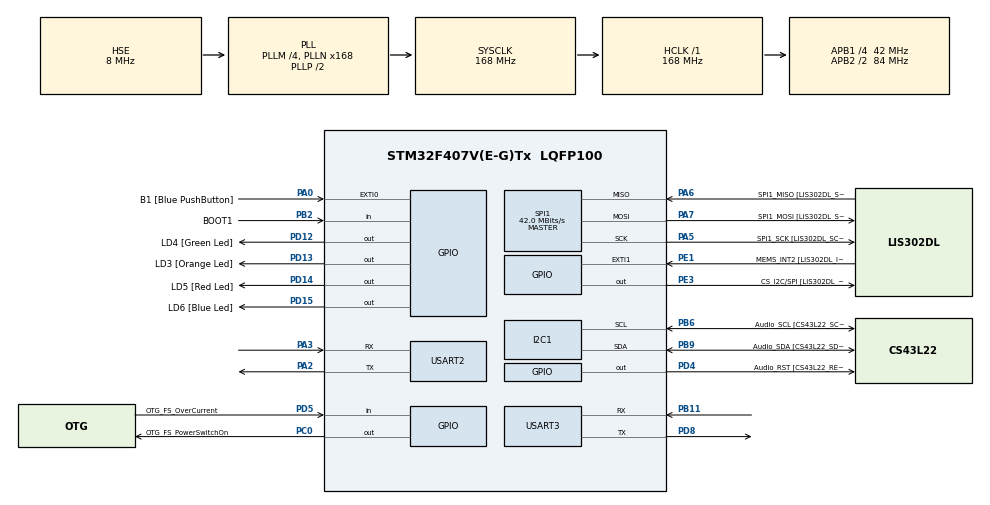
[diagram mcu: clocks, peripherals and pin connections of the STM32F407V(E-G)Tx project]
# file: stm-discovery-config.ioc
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Mcu.Family=STM32F4
Mcu.Name=STM32F407V(E-G)Tx
Mcu.Package=LQFP100
NVIC.PriorityGroup=NVIC_PRIORITYGROUP_0
NVIC.USART2_IRQn=true\:0\:0\:false\:false\:true\:true\:true\:true
NVIC.USART3_IRQn=true\:0\:0\:false\:false\:true\:true\:true\:true
PA0-WKUP.GPIO_Label=B1 [Blue PushButton]
PA0-WKUP.GPIO_ModeDefaultEXTI=GPIO_MODE_EVT_RISING
PA0-WKUP.GPIO_PuPd=GPIO_NOPULL
PA0-WKUP.Signal=GPXTI0
PA10.GPIO_Label=OTG_FS_ID
PA10.GPIO_Mode=GPIO_MODE_AF_PP
PA10.GPIO_PuPd=GPIO_NOPULL
PA10.GPIO_Speed=GPIO_SPEED_FREQ_LOW
PA10.Signal=USB_OTG_FS_ID
PA11.GPIO_Label=OTG_FS_DM
PA11.GPIO_Mode=GPIO_MODE_AF_PP
PA11.GPIO_PuPd=GPIO_NOPULL
PA11.GPIO_Speed=GPIO_SPEED_FREQ_LOW
PA11.Signal=USB_OTG_FS_DM
PA12.GPIO_Label=OTG_FS_DP
PA12.GPIO_Mode=GPIO_MODE_AF_PP
PA12.GPIO_PuPd=GPIO_NOPULL
PA12.GPIO_Speed=GPIO_SPEED_FREQ_LOW
PA12.Signal=USB_OTG_FS_DP
PA13.GPIO_Label=SWDIO
PA13.Mode=Serial_Wire
PA13.Signal=SYS_JTMS-SWDIO
PA14.GPIO_Label=SWCLK
PA14.Mode=Serial_Wire
PA14.Signal=SYS_JTCK-SWCLK
PA2.Mode=Asynchronous
PA2.Signal=USART2_TX
PA3.Mode=Asynchronous
PA3.Signal=USART2_RX
PA4.GPIO_Label=I2S3_WS [CS43L22_LRCK]
PA4.GPIO_Mode=GPIO_MODE_AF_PP
PA4.GPIO_PuPd=GPIO_NOPULL
PA4.GPIO_Speed=GPIO_SPEED_FREQ_LOW
PA4.Signal=I2S3_WS
PA5.GPIO_Label=SPI1_SCK [LIS302DL_SCL/SPC]
PA5.GPIO_Mode=GPIO_MODE_AF_PP
PA5.GPIO_PuPd=GPIO_NOPULL
PA5.GPIO_Speed=GPIO_SPEED_FREQ_LOW
PA5.Mode=Full_Duplex_Master
PA5.Signal=SPI1_SCK
PA6.GPIO_Label=SPI1_MISO [LIS302DL_SDO]
PA6.GPIO_Mode=GPIO_MODE_AF_PP
PA6.GPIO_PuPd=GPIO_NOPULL
PA6.GPIO_Speed=GPIO_SPEED_FREQ_LOW
PA6.Mode=Full_Duplex_Master
PA6.Signal=SPI1_MISO
PA7.GPIO_Label=SPI1_MOSI [LIS302DL_SDA/SDI/SDO]
PA7.GPIO_Mode=GPIO_MODE_AF_PP
PA7.GPIO_PuPd=GPIO_NOPULL
PA7.GPIO_Speed=GPIO_SPEED_FREQ_LOW
PA7.Mode=Full_Duplex_Master
PA7.Signal=SPI1_MOSI
PA9.GPIO_Label=VBUS_FS
PA9.GPIO_Mode=GPIO_MODE_INPUT
PA9.GPIO_PuPd=GPIO_NOPULL
PA9.Signal=USB_OTG_FS_VBUS
PB10.GPIO_Label=CLK_IN [MP45DT02_CLK]
PB10.GPIO_Mode=GPIO_MODE_AF_PP
PB10.GPIO_PuPd=GPIO_NOPULL
PB10.GPIO_Speed=GPIO_SPEED_FREQ_LOW
PB10.Signal=I2S2_CK
PB11.Mode=Asynchronous
PB11.Signal=USART3_RX
PB2.GPIO_Label=BOOT1
PB2.GPIO_Mode=GPIO_MODE_INPUT
PB2.GPIO_PuPd=GPIO_NOPULL
PB2.Signal=GPIO_Input
PB3.GPIO_Label=SWO
PB3.Signal=SYS_JTDO-SWO
PB6.GPIO_Label=Audio_SCL [CS43L22_SCL]
PB6.GPIO_Mode=GPIO_MODE_AF_OD
PB6.GPIO_Pu=GPIO_PULLUP
PB6.GPIO_PuPd=GPIO_NOPULL
PB6.GPIO_Speed=GPIO_SPEED_FREQ_LOW
PB6.Mode=I2C
PB6.Signal=I2C1_SCL
PB9.GPIO_Label=Audio_SDA [CS43L22_SDA]
PB9.GPIO_Mode=GPIO_MODE_AF_OD
PB9.GPIO_Pu=GPIO_PULLUP
PB9.GPIO_PuPd=GPIO_NOPULL
PB9.GPIO_Speed=GPIO_SPEED_FREQ_LOW
PB9.Mode=I2C
PB9.Signal=I2C1_SDA
PC0.GPIO_Label=OTG_FS_PowerSwitchOn
PC0.GPIO_PuPd=GPIO_NOPULL
PC0.GPIO_Speed=GPIO_SPEED_FREQ_LOW
PC0.PinState=GPIO_PIN_SET
PC0.Signal=GPIO_Output
PC10.GPIO_Label=I2S3_SCK [CS43L22_SCLK]
PC10.GPIO_Mode=GPIO_MODE_AF_PP
PC10.GPIO_PuPd=GPIO_NOPULL
PC10.GPIO_Speed=GPIO_SPEED_FREQ_LOW
PC10.Signal=I2S3_CK
PC12.GPIO_Label=I2S3_SD [CS43L22_SDIN]
PC12.GPIO_Mode=GPIO_MODE_AF_PP
PC12.GPIO_PuPd=GPIO_NOPULL
PC12.GPIO_Speed=GPIO_SPEED_FREQ_LOW
PC12.Signal=I2S3_SD
PC14-OSC32_IN.GPIO_Label=PC14-OSC32_IN
PC14-OSC32_IN.Mode=LSE-External-Oscillator
PC14-OSC32_IN.Signal=RCC_OSC32_IN
PC15-OSC32_OUT.GPIO_Label=PC15-OSC32_OUT
PC15-OSC32_OUT.Mode=LSE-External-Oscillator
PC15-OSC32_OUT.Signal=RCC_OSC32_OUT
PC3.GPIO_Label=PDM_OUT [MP45DT02_DOUT]
PC3.GPIO_Mode=GPIO_MODE_AF_PP
PC3.GPIO_PuPd=GPIO_NOPULL
PC3.GPIO_Speed=GPIO_SPEED_FREQ_LOW
PC3.Signal=I2S2_SD
PC7.GPIO_Label=I2S3_MCK [CS43L22_MCLK]
PC7.GPIO_Mode=GPIO_MODE_AF_PP
PC7.GPIO_PuPd=GPIO_NOPULL
PC7.GPIO_Speed=GPIO_SPEED_FREQ_LOW
PC7.Signal=I2S3_MCK
PD12.GPIO_Label=LD4 [Green Led]
PD12.GPIO_PuPd=GPIO_NOPULL
PD12.GPIO_Speed=GPIO_SPEED_FREQ_LOW
PD12.Signal=GPIO_Output
PD13.GPIO_Label=LD3 [Orange Led]
PD13.GPIO_PuPd=GPIO_NOPULL
PD13.GPIO_Speed=GPIO_SPEED_FREQ_LOW
PD13.Signal=GPIO_Output
PD14.GPIO_Label=LD5 [Red Led]
PD14.GPIO_PuPd=GPIO_NOPULL
PD14.GPIO_Speed=GPIO_SPEED_FREQ_LOW
PD14.Signal=GPIO_Output
PD15.GPIO_Label=LD6 [Blue Led]
PD15.GPIO_PuPd=GPIO_NOPULL
PD15.GPIO_Speed=GPIO_SPEED_FREQ_LOW
PD15.Signal=GPIO_Output
PD4.GPIO_Label=Audio_RST [CS43L22_RESET]
PD4.GPIO_PuPd=GPIO_NOPULL
PD4.GPIO_Speed=GPIO_SPEED_FREQ_LOW
PD4.Signal=GPIO_Output
PD5.GPIO_Label=OTG_FS_OverCurrent
PD5.GPIO_Mode=GPIO_MODE_INPUT
PD5.GPIO_PuPd=GPIO_NOPULL
PD5.Signal=GPIO_Input
PD8.Mode=Asynchronous
PD8.Signal=USART3_TX
PE1.GPIO_Label=MEMS_INT2 [LIS302DL_INT2]
PE1.GPIO_ModeDefaultEXTI=GPIO_MODE_EVT_RISING
PE1.GPIO_PuPd=GPIO_NOPULL
PE1.Signal=GPXTI1
PE3.GPIO_Label=CS_I2C/SPI [LIS302DL_CS_I2C/SPI]
PE3.GPIO_PuPd=GPIO_NOPULL
PE3.GPIO_Speed=GPIO_SPEED_FREQ_LOW
PE3.Signal=GPIO_Output
PH0-OSC_IN.GPIO_Label=PH0-OSC_IN
PH0-OSC_IN.Mode=HSE-External-Oscillator
PH0-OSC_IN.Signal=RCC_OSC_IN
PH1-OSC_OUT.GPIO_Label=PH1-OSC_OUT
PH1-OSC_OUT.Mode=HSE-External-Oscillator
PH1-OSC_OUT.Signal=RCC_OSC_OUT
ProjectManager.HeapSize=0x200
ProjectManager.StackSize=0x1000
ProjectManager.TargetToolchain=STM32CubeIDE
RCC.48MHZClocksFreq_Value=48000000
RCC.AHBFreq_Value=168000000
RCC.APB1CLKDivider=RCC_HCLK_DIV4
RCC.APB1Freq_Value=42000000
RCC.APB1TimFreq_Value=84000000
RCC.APB2CLKDivider=RCC_HCLK_DIV2
RCC.APB2Freq_Value=84000000
RCC.APB2TimFreq_Value=168000000
RCC.CortexFreq_Value=168000000
RCC.HCLKFreq_Value=168000000
RCC.HSE_VALUE=8000000
RCC.HSI_VALUE=16000000
RCC.PLLI2SN=50
RCC.PLLM=4
RCC.PLLN=168
RCC.PLLQ=7
RCC.PLLSourceVirtual=RCC_PLLSOURCE_HSE
RCC.SYSCLKFreq_VALUE=168000000
RCC.SYSCLKSource=RCC_SYSCLKSOURCE_PLLCLK
RCC.VCOOutputFreq_Value=336000000
SPI1.BaudRatePrescaler-Full_Duplex_Master=SPI_BAUDRATEPRESCALER_2
SPI1.CalculateBaudRate=42.0 MBits/s
SPI1.CalculateBaudRate-Full_Duplex_Master=42.0 MBits/s
SPI1.Direction=SPI_DIRECTION_2LINES
SPI1.Mode=SPI_MODE_MASTER
SPI1.Mode-Full_Duplex_Master=SPI_MODE_MASTER
SPI1.VirtualType=VM_MASTER
USART2.VirtualMode=VM_ASYNC
USART3.VirtualMode=VM_ASYNC
VP_CRC_VS_CRC.Mode=CRC_Activate
board=STM32F407G-DISC1

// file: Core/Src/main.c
/* USER CODE BEGIN Header */
/**
  ******************************************************************************
  * @file           : main.c
  * @brief          : Main program body
  ******************************************************************************
  * @attention
  *
  * Copyright (c) 2026 STMicroelectronics.
  * All rights reserved.
  *
  * This software is licensed under terms that can be found in the LICENSE file
  * in the root directory of this software component.
  * If no LICENSE file comes with this software, it is provided AS-IS.
  *
  ******************************************************************************
  */
/* USER CODE END Header */
#include "main.h"

/* USER CODE BEGIN Includes */
#include "rsid.h"
#include <stdio.h>
#include <string.h>
/* USER CODE END Includes */

/* USER CODE BEGIN PD */
#define RX_BUF_SIZE 512 /* Must be power of 2 */
/* USER CODE END PD */

CRC_HandleTypeDef hcrc;

I2C_HandleTypeDef hi2c1;

SPI_HandleTypeDef hspi1;

UART_HandleTypeDef huart2;
UART_HandleTypeDef huart3;

/* USER CODE BEGIN PV */
volatile uint8_t rx_buf[RX_BUF_SIZE];
volatile uint32_t rx_head = 0, rx_tail = 0;

#define CMD_BUF_SIZE 64
volatile uint8_t cmd_rx_buf[CMD_BUF_SIZE];
volatile uint32_t cmd_rx_head = 0;
static uint32_t cmd_rx_tail = 0;

static rsid_ctx_t g_ctx;
/* USER CODE END PV */

void SystemClock_Config(void);
static void MX_GPIO_Init(void);
static void MX_I2C1_Init(void);
static void MX_SPI1_Init(void);
static void MX_USART2_UART_Init(void);
static void MX_CRC_Init(void);
static void MX_USART3_UART_Init(void);

/* USER CODE BEGIN 0 */

/*
 * ============================================================================
 *  UART Plumbing
 * ============================================================================
 *
 * Two UARTs are used:
 *   USART2 (PA2 TX / PA3 RX) — Data channel to RealSenseID module (115200 8N1).
 *                                 ISR-driven RX ring buffer (rx_buf) for the SDK.
 *   USART3 (PD8 TX / PB11 RX) — Debug console to host PC via USB-TTL (115200 8N1).
 *                                 printf() output + interactive command input.
 *
 * The RealSenseID SDK communicates through five platform callbacks wired in main():
 *   send, recv, purge, get_time_ms, sleep_ms
 */

/* Redirect printf to USART3 (debug console) */
int _write(int file, char *ptr, int len)
{
  (void)file;
  HAL_UART_Transmit(&huart3, (uint8_t*)ptr, (uint16_t)len, 1000);
  return len;
}

/*
 * ============================================================================
 *  RealSenseID Platform Callbacks (rsid_platform_t)
 * ============================================================================
 */

/* Debug: route SDK diagnostic messages to the debug console (only called with -DRSID_DEBUG=1) */
static void rsid_debug_callback(const char* msg, void* app_ctx)
{
  (void)app_ctx;
  printf("[RSID] %s\r\n", msg);
}

/* Send: blocking UART transmit to the RealSenseID module */
static int stm32_send(const uint8_t* data, uint32_t len, void* app_ctx)
{
  (void)app_ctx;
  return HAL_UART_Transmit(&huart2, (uint8_t*)data, (uint16_t)len, 1000) == HAL_OK ? 0 : -1;
}

/* Recv: pull bytes from the ISR ring buffer with timeout */
static int stm32_recv(uint8_t* data, uint32_t len, uint32_t timeout_ms, void* app_ctx)
{
  (void)app_ctx;
  uint32_t start = HAL_GetTick();
  uint32_t received = 0;
  while (received < len)
  {
    if ((HAL_GetTick() - start) >= timeout_ms)
      return -1;
    if (rx_head != rx_tail)
    {
      data[received++] = rx_buf[rx_tail & (RX_BUF_SIZE - 1)];
      rx_tail++;
    }
  }
  return 0;
}

/* Purge: discard any stale bytes in the RX ring buffer */
static void stm32_purge(void* app_ctx)
{
  (void)app_ctx;
  __disable_irq();
  rx_head = rx_tail = 0;
  __enable_irq();
}

/* Timestamp: millisecond clock for SDK timeouts */
static uint32_t stm32_get_time_ms(void* app_ctx)
{
  (void)app_ctx;
  return HAL_GetTick();
}

/* Sleep: blocking delay for SDK retry logic */
static void stm32_sleep_ms(uint32_t ms, void* app_ctx)
{
  (void)app_ctx;
  HAL_Delay(ms);
}

/*
 * ============================================================================
 *  LED Helpers
 * ============================================================================
 *
 *  LD4 (PD12) Green  — success indicator
 *  LD5 (PD14) Red    — failure indicator
 *  LD3 (PD13) Orange — USART3 RX activity (toggled in ISR)
 *  LD6 (PD15) Blue   — available
 */

static void led_green(int on)
{
  HAL_GPIO_WritePin(GPIOD, LD4_Pin, on ? GPIO_PIN_SET : GPIO_PIN_RESET);
}

static void led_red(int on)
{
  HAL_GPIO_WritePin(GPIOD, LD5_Pin, on ? GPIO_PIN_SET : GPIO_PIN_RESET);
}

/*
 * ============================================================================
 *  Debug Console — Line Editor
 * ============================================================================
 *
 * Reads characters from the USART3 ISR ring buffer (cmd_rx_buf), echoes them
 * back, and assembles a complete line when CR or LF is received.
 * Returns the line length, or 0 if no complete line is available yet.
 */

static char cmd_line[64];
static uint32_t cmd_line_pos = 0;

static int cmd_readline(char* out, int max_len)
{
  while (cmd_rx_head != cmd_rx_tail)
  {
    uint8_t ch = cmd_rx_buf[cmd_rx_tail & (CMD_BUF_SIZE - 1)];
    cmd_rx_tail++;

    if (ch == '\r' || ch == '\n')
    {
      if (cmd_line_pos > 0)
      {
        int len = (int)cmd_line_pos;
        if (len >= max_len) len = max_len - 1;
        memcpy(out, cmd_line, len);
        out[len] = '\0';
        cmd_line_pos = 0;
        printf("\r\n");
        return len;
      }
    }
    else if (cmd_line_pos < sizeof(cmd_line) - 1)
    {
      cmd_line[cmd_line_pos++] = ch;
      HAL_UART_Transmit(&huart3, (uint8_t*)&ch, 1, 10);
    }
  }
  return 0;
}

/*
 * ============================================================================
 *  SDK Callbacks — Authentication & Enrollment
 * ============================================================================
 */

static rsid_ctx_t* g_cancel_ctx = NULL; /* set during auth loop for button cancel */

static int blue_button_pressed(void)
{
  return HAL_GPIO_ReadPin(B1_GPIO_Port, B1_Pin) == GPIO_PIN_SET;
}

static void on_auth_result(rsid_auth_status status, const char* user_id, short score, void* ctx)
{
  (void)ctx;
  if (status == RSID_Auth_Success)
  {
    printf("AUTH OK: %s (score=%d)\r\n", user_id, (int)score);
    led_green(1);
    led_red(0);
  }
  else
  {
    printf("AUTH FAIL: %d\r\n", (int)status);
    led_green(0);
    led_red(1);
  }
}

static void on_auth_hint(rsid_auth_status hint, float frame_score, void* ctx)
{
  (void)ctx;
//  printf("  hint: %d (%.2f)\r\n", (int)hint, (float)frame_score);

  /* Blue button cancels auth loop */
  if (g_cancel_ctx && blue_button_pressed())
  {
    printf("  [CANCEL requested]\r\n");
    rsid_cancel(g_cancel_ctx);
    g_cancel_ctx = NULL;
  }
}

static void on_enroll_result(rsid_enroll_status status, void* ctx)
{
  (void)ctx;
  if (status == RSID_Enroll_Success)
  {
    printf("ENROLL OK\r\n");
    led_green(1);
    led_red(0);
  }
  else
  {
    printf("ENROLL FAIL: %d\r\n", (int)status);
    led_green(0);
    led_red(1);
  }
}

static void on_enroll_progress(rsid_face_pose pose, void* ctx)
{
  (void)ctx;
  const char* names[] = {"Center", "Up", "Down", "Left", "Right"};
  if (pose <= RSID_Face_Right)
    printf("  pose: %s\r\n", names[pose]);
}

/*
 * ============================================================================
 *  Command Handler
 * ============================================================================
 *
 * Commands (type 'help' at the console):
 *   p/ping           Ping the device (binary packet echo test)
 *   v/version        Query firmware module versions (text protocol)
 *   a/auth           Single authentication attempt
 *   l/loop           Continuous auth loop (BLUE BUTTON to cancel)
 *   e <name>         Enroll a new user
 *   r <name>         Remove a user by name
 *   ra/remove-all    Remove all enrolled users
 *   u/users          Query enrolled user count
 *   sn/serial        Query device serial number
 *   c/config         Query device configuration
 *   reboot           Reboot the device
 */

static void handle_command(rsid_ctx_t* ctx, const char* cmd)
{
  rsid_status st;

  if (strcmp(cmd, "p") == 0 || strcmp(cmd, "ping") == 0)
  {
    uint32_t t0 = HAL_GetTick();
    st = rsid_ping(ctx);
    uint32_t dt = HAL_GetTick() - t0;
    printf("ping: %s (%lu ms)\r\n", st == RSID_Ok ? "OK" : "FAIL", (unsigned long)dt);
    led_green(st == RSID_Ok);
    led_red(st != RSID_Ok);
  }
  else if (strcmp(cmd, "v") == 0 || strcmp(cmd, "version") == 0)
  {
    char ver[256];
    st = rsid_query_firmware_version(ctx, ver, sizeof(ver));
    if (st == RSID_Ok)
      printf("FW: %s\r\n", ver);
    else
      printf("version FAIL (%d)\r\n", (int)st);
  }
  else if (strcmp(cmd, "a") == 0 || strcmp(cmd, "auth") == 0)
  {
    rsid_auth_callbacks_t cb;
    memset(&cb, 0, sizeof(cb));
    cb.on_result = on_auth_result;
    cb.on_hint = on_auth_hint;
    printf("Authenticating...\r\n");
    rsid_authenticate(ctx, &cb, NULL);
  }
  else if (strcmp(cmd, "l") == 0 || strcmp(cmd, "loop") == 0)
  {
    rsid_auth_callbacks_t cb;
    memset(&cb, 0, sizeof(cb));
    cb.on_result = on_auth_result;
    cb.on_hint = on_auth_hint;
    g_cancel_ctx = ctx;
    printf("Auth loop (BLUE BUTTON to stop)...\r\n");
    rsid_authenticate_loop(ctx, &cb, NULL);
    g_cancel_ctx = NULL;
    printf("Auth loop ended\r\n");
  }
  else if (strncmp(cmd, "e ", 2) == 0 || strncmp(cmd, "enroll ", 7) == 0)
  {
    const char* name = (cmd[0] == 'e' && cmd[1] == ' ') ? cmd + 2 : cmd + 7;
    rsid_enroll_callbacks_t cb;
    memset(&cb, 0, sizeof(cb));
    cb.on_result = on_enroll_result;
    cb.on_progress = on_enroll_progress;
    printf("Enrolling '%s'...\r\n", name);
    rsid_enroll(ctx, name, &cb, NULL);
  }
  else if (strcmp(cmd, "u") == 0 || strcmp(cmd, "users") == 0)
  {
    unsigned int count = 0;
    st = rsid_query_number_of_users(ctx, &count);
    if (st == RSID_Ok)
      printf("Users: %u\r\n", count);
    else
      printf("users FAIL (%d)\r\n", (int)st);
  }
  else if (strcmp(cmd, "c") == 0 || strcmp(cmd, "config") == 0)
  {
    rsid_device_config_t cfg;
    st = rsid_query_device_config(ctx, &cfg);
    if (st == RSID_Ok)
      printf("Config OK (rotation=%d, security=%d)\r\n",
             (int)cfg.camera_rotation, (int)cfg.security_level);
    else
      printf("config FAIL (%d)\r\n", (int)st);
  }
  else if (strncmp(cmd, "r ", 2) == 0 || strncmp(cmd, "remove ", 7) == 0)
  {
    const char* name = (cmd[0] == 'r' && cmd[1] == ' ') ? cmd + 2 : cmd + 7;
    st = rsid_remove_user(ctx, name);
    printf("remove '%s': %s (%d)\r\n", name, st == RSID_Ok ? "OK" : "FAIL", (int)st);
  }
  else if (strcmp(cmd, "ra") == 0 || strcmp(cmd, "remove-all") == 0)
  {
    printf("Removing all users...\r\n");
    st = rsid_remove_all(ctx);
    printf("remove-all: %s (%d)\r\n", st == RSID_Ok ? "OK" : "FAIL", (int)st);
  }
  else if (strcmp(cmd, "sn") == 0 || strcmp(cmd, "serial") == 0)
  {
    char sn[64];
    st = rsid_query_serial_number(ctx, sn, sizeof(sn));
    if (st == RSID_Ok)
      printf("SN: %s\r\n", sn);
    else
      printf("serial FAIL (%d)\r\n", (int)st);
  }
  else if (strcmp(cmd, "reboot") == 0)
  {
    rsid_reboot(ctx);
    printf("Rebooting device...\r\n");
  }
  else if (strcmp(cmd, "h") == 0 || strcmp(cmd, "help") == 0)
  {
    printf("Commands:\r\n");
    printf("  p/ping        Ping device\r\n");
    printf("  v/version     Firmware version\r\n");
    printf("  a/auth        Authenticate once\r\n");
    printf("  l/loop        Auth loop (BLUE BUTTON to cancel)\r\n");
    printf("  e <name>      Enroll user\r\n");
    printf("  r <name>      Remove user\r\n");
    printf("  ra/remove-all Remove all users\r\n");
    printf("  u/users       User count\r\n");
    printf("  sn/serial     Device serial number\r\n");
    printf("  c/config      Query config\r\n");
    printf("  reboot        Reboot device\r\n");
  }
  else
  {
    printf("Unknown: '%s' (type 'help')\r\n", cmd);
  }
}

/* USER CODE END 0 */

int main(void)
{

  /* MCU Configuration--------------------------------------------------------*/

  /* Reset of all peripherals, Initializes the Flash interface and the Systick. */
  HAL_Init();

  /* Configure the system clock */
  SystemClock_Config();

  /* Initialize all configured peripherals */
  MX_GPIO_Init();
  MX_I2C1_Init();
  MX_SPI1_Init();
  MX_USART2_UART_Init();
  MX_CRC_Init();
  MX_USART3_UART_Init();
  /* USER CODE BEGIN 2 */

  /* Enable RX interrupts for both UARTs (ISR fills ring buffers) */
  __HAL_UART_ENABLE_IT(&huart2, UART_IT_RXNE);  /* Device data */
  __HAL_UART_ENABLE_IT(&huart3, UART_IT_RXNE);  /* Debug console */

  /* Wire RealSenseID SDK platform callbacks */
  g_ctx.platform.send       = stm32_send;
  g_ctx.platform.recv       = stm32_recv;
  g_ctx.platform.purge      = stm32_purge;
  g_ctx.platform.get_time_ms = stm32_get_time_ms;
  g_ctx.platform.sleep_ms   = stm32_sleep_ms;
  g_ctx.platform.debug      = rsid_debug_callback;
  g_ctx.platform.app_ctx    = NULL;
  rsid_init(&g_ctx);

  printf("\r\n=== RealSenseID STM32 Demo ===\r\n");

  /*
   * F460 DCD UART: the TX channel is disabled by default on the device.
   * "init 1" enables bidirectional communication on the debug UART so the
   * device sends responses back to us (not just to its own debug console).
   * Wait 500ms for the device to process the command, then flush any
   * boot/init noise from the RX buffer before accepting user commands.
   */
  {
    const char init_cmd[] = "\r\ninit 1\r\n";
    HAL_UART_Transmit(&huart2, (uint8_t*)init_cmd, sizeof(init_cmd) - 1, 1000);
    HAL_Delay(500);
    stm32_purge(NULL);
    printf("Device UART initialized\r\n");
  }

  printf("Type 'help' for commands\r\n> ");

  /* USER CODE END 2 */

  /* Infinite loop */
  while (1)
  {

    /* USER CODE BEGIN 3 */
    char cmd[64];
    if (cmd_readline(cmd, sizeof(cmd)) > 0)
    {
      handle_command(&g_ctx, cmd);
      printf("> ");
    }
  }
  /* USER CODE END 3 */
}

void SystemClock_Config(void)
{
  RCC_OscInitTypeDef RCC_OscInitStruct = {0};
  RCC_ClkInitTypeDef RCC_ClkInitStruct = {0};

  /** Configure the main internal regulator output voltage
  */
  __HAL_RCC_PWR_CLK_ENABLE();
  __HAL_PWR_VOLTAGESCALING_CONFIG(PWR_REGULATOR_VOLTAGE_SCALE1);

  /** Initializes the RCC Oscillators according to the specified parameters
  * in the RCC_OscInitTypeDef structure.
  */
  RCC_OscInitStruct.OscillatorType = RCC_OSCILLATORTYPE_HSE;
  RCC_OscInitStruct.HSEState = RCC_HSE_ON;
  RCC_OscInitStruct.PLL.PLLState = RCC_PLL_ON;
  RCC_OscInitStruct.PLL.PLLSource = RCC_PLLSOURCE_HSE;
  RCC_OscInitStruct.PLL.PLLM = 4;
  RCC_OscInitStruct.PLL.PLLN = 168;
  RCC_OscInitStruct.PLL.PLLP = RCC_PLLP_DIV2;
  RCC_OscInitStruct.PLL.PLLQ = 7;
  if (HAL_RCC_OscConfig(&RCC_OscInitStruct) != HAL_OK)
  {
    Error_Handler();
  }

  /** Initializes the CPU, AHB and APB buses clocks
  */
  RCC_ClkInitStruct.ClockType = RCC_CLOCKTYPE_HCLK|RCC_CLOCKTYPE_SYSCLK
                              |RCC_CLOCKTYPE_PCLK1|RCC_CLOCKTYPE_PCLK2;
  RCC_ClkInitStruct.SYSCLKSource = RCC_SYSCLKSOURCE_PLLCLK;
  RCC_ClkInitStruct.AHBCLKDivider = RCC_SYSCLK_DIV1;
  RCC_ClkInitStruct.APB1CLKDivider = RCC_HCLK_DIV4;
  RCC_ClkInitStruct.APB2CLKDivider = RCC_HCLK_DIV2;

  if (HAL_RCC_ClockConfig(&RCC_ClkInitStruct, FLASH_LATENCY_5) != HAL_OK)
  {
    Error_Handler();
  }
}

static void MX_CRC_Init(void)
{

  hcrc.Instance = CRC;
  if (HAL_CRC_Init(&hcrc) != HAL_OK)
  {
    Error_Handler();
  }

}

static void MX_I2C1_Init(void)
{

  hi2c1.Instance = I2C1;
  hi2c1.Init.ClockSpeed = 100000;
  hi2c1.Init.DutyCycle = I2C_DUTYCYCLE_2;
  hi2c1.Init.OwnAddress1 = 0;
  hi2c1.Init.AddressingMode = I2C_ADDRESSINGMODE_7BIT;
  hi2c1.Init.DualAddressMode = I2C_DUALADDRESS_DISABLE;
  hi2c1.Init.OwnAddress2 = 0;
  hi2c1.Init.GeneralCallMode = I2C_GENERALCALL_DISABLE;
  hi2c1.Init.NoStretchMode = I2C_NOSTRETCH_DISABLE;
  if (HAL_I2C_Init(&hi2c1) != HAL_OK)
  {
    Error_Handler();
  }

}

static void MX_SPI1_Init(void)
{

  /* SPI1 parameter configuration*/
  hspi1.Instance = SPI1;
  hspi1.Init.Mode = SPI_MODE_MASTER;
  hspi1.Init.Direction = SPI_DIRECTION_2LINES;
  hspi1.Init.DataSize = SPI_DATASIZE_8BIT;
  hspi1.Init.CLKPolarity = SPI_POLARITY_LOW;
  hspi1.Init.CLKPhase = SPI_PHASE_1EDGE;
  hspi1.Init.NSS = SPI_NSS_SOFT;
  hspi1.Init.BaudRatePrescaler = SPI_BAUDRATEPRESCALER_2;
  hspi1.Init.FirstBit = SPI_FIRSTBIT_MSB;
  hspi1.Init.TIMode = SPI_TIMODE_DISABLE;
  hspi1.Init.CRCCalculation = SPI_CRCCALCULATION_DISABLE;
  hspi1.Init.CRCPolynomial = 10;
  if (HAL_SPI_Init(&hspi1) != HAL_OK)
  {
    Error_Handler();
  }

}

static void MX_USART2_UART_Init(void)
{

  huart2.Instance = USART2;
  huart2.Init.BaudRate = 115200;
  huart2.Init.WordLength = UART_WORDLENGTH_8B;
  huart2.Init.StopBits = UART_STOPBITS_1;
  huart2.Init.Parity = UART_PARITY_NONE;
  huart2.Init.Mode = UART_MODE_TX_RX;
  huart2.Init.HwFlowCtl = UART_HWCONTROL_NONE;
  huart2.Init.OverSampling = UART_OVERSAMPLING_16;
  if (HAL_UART_Init(&huart2) != HAL_OK)
  {
    Error_Handler();
  }

}

static void MX_USART3_UART_Init(void)
{

  huart3.Instance = USART3;
  huart3.Init.BaudRate = 115200;
  huart3.Init.WordLength = UART_WORDLENGTH_8B;
  huart3.Init.StopBits = UART_STOPBITS_1;
  huart3.Init.Parity = UART_PARITY_NONE;
  huart3.Init.Mode = UART_MODE_TX_RX;
  huart3.Init.HwFlowCtl = UART_HWCONTROL_NONE;
  huart3.Init.OverSampling = UART_OVERSAMPLING_16;
  if (HAL_UART_Init(&huart3) != HAL_OK)
  {
    Error_Handler();
  }

}

static void MX_GPIO_Init(void)
{
  GPIO_InitTypeDef GPIO_InitStruct = {0};

  /* GPIO Ports Clock Enable */
  __HAL_RCC_GPIOE_CLK_ENABLE();
  __HAL_RCC_GPIOC_CLK_ENABLE();
  __HAL_RCC_GPIOH_CLK_ENABLE();
  __HAL_RCC_GPIOA_CLK_ENABLE();
  __HAL_RCC_GPIOB_CLK_ENABLE();
  __HAL_RCC_GPIOD_CLK_ENABLE();

  /*Configure GPIO pin Output Level */
  HAL_GPIO_WritePin(CS_I2C_SPI_GPIO_Port, CS_I2C_SPI_Pin, GPIO_PIN_RESET);

  /*Configure GPIO pin Output Level */
  HAL_GPIO_WritePin(OTG_FS_PowerSwitchOn_GPIO_Port, OTG_FS_PowerSwitchOn_Pin, GPIO_PIN_SET);

  /*Configure GPIO pin Output Level */
  HAL_GPIO_WritePin(GPIOD, LD4_Pin|LD3_Pin|LD5_Pin|LD6_Pin
                          |Audio_RST_Pin, GPIO_PIN_RESET);

  /*Configure GPIO pin : CS_I2C_SPI_Pin */
  GPIO_InitStruct.Pin = CS_I2C_SPI_Pin;
  GPIO_InitStruct.Mode = GPIO_MODE_OUTPUT_PP;
  GPIO_InitStruct.Pull = GPIO_NOPULL;
  GPIO_InitStruct.Speed = GPIO_SPEED_FREQ_LOW;
  HAL_GPIO_Init(CS_I2C_SPI_GPIO_Port, &GPIO_InitStruct);

  /*Configure GPIO pin : OTG_FS_PowerSwitchOn_Pin */
  GPIO_InitStruct.Pin = OTG_FS_PowerSwitchOn_Pin;
  GPIO_InitStruct.Mode = GPIO_MODE_OUTPUT_PP;
  GPIO_InitStruct.Pull = GPIO_NOPULL;
  GPIO_InitStruct.Speed = GPIO_SPEED_FREQ_LOW;
  HAL_GPIO_Init(OTG_FS_PowerSwitchOn_GPIO_Port, &GPIO_InitStruct);

  /*Configure GPIO pin : PDM_OUT_Pin */
  GPIO_InitStruct.Pin = PDM_OUT_Pin;
  GPIO_InitStruct.Mode = GPIO_MODE_AF_PP;
  GPIO_InitStruct.Pull = GPIO_NOPULL;
  GPIO_InitStruct.Speed = GPIO_SPEED_FREQ_LOW;
  GPIO_InitStruct.Alternate = GPIO_AF5_SPI2;
  HAL_GPIO_Init(PDM_OUT_GPIO_Port, &GPIO_InitStruct);

  /*Configure GPIO pin : B1_Pin */
  GPIO_InitStruct.Pin = B1_Pin;
  GPIO_InitStruct.Mode = GPIO_MODE_EVT_RISING;
  GPIO_InitStruct.Pull = GPIO_NOPULL;
  HAL_GPIO_Init(B1_GPIO_Port, &GPIO_InitStruct);

  /*Configure GPIO pin : I2S3_WS_Pin */
  GPIO_InitStruct.Pin = I2S3_WS_Pin;
  GPIO_InitStruct.Mode = GPIO_MODE_AF_PP;
  GPIO_InitStruct.Pull = GPIO_NOPULL;
  GPIO_InitStruct.Speed = GPIO_SPEED_FREQ_LOW;
  GPIO_InitStruct.Alternate = GPIO_AF6_SPI3;
  HAL_GPIO_Init(I2S3_WS_GPIO_Port, &GPIO_InitStruct);

  /*Configure GPIO pin : BOOT1_Pin */
  GPIO_InitStruct.Pin = BOOT1_Pin;
  GPIO_InitStruct.Mode = GPIO_MODE_INPUT;
  GPIO_InitStruct.Pull = GPIO_NOPULL;
  HAL_GPIO_Init(BOOT1_GPIO_Port, &GPIO_InitStruct);

  /*Configure GPIO pin : CLK_IN_Pin */
  GPIO_InitStruct.Pin = CLK_IN_Pin;
  GPIO_InitStruct.Mode = GPIO_MODE_AF_PP;
  GPIO_InitStruct.Pull = GPIO_NOPULL;
  GPIO_InitStruct.Speed = GPIO_SPEED_FREQ_LOW;
  GPIO_InitStruct.Alternate = GPIO_AF5_SPI2;
  HAL_GPIO_Init(CLK_IN_GPIO_Port, &GPIO_InitStruct);

  /*Configure GPIO pins : LD4_Pin LD3_Pin LD5_Pin LD6_Pin
                           Audio_RST_Pin */
  GPIO_InitStruct.Pin = LD4_Pin|LD3_Pin|LD5_Pin|LD6_Pin
                          |Audio_RST_Pin;
  GPIO_InitStruct.Mode = GPIO_MODE_OUTPUT_PP;
  GPIO_InitStruct.Pull = GPIO_NOPULL;
  GPIO_InitStruct.Speed = GPIO_SPEED_FREQ_LOW;
  HAL_GPIO_Init(GPIOD, &GPIO_InitStruct);

  /*Configure GPIO pins : I2S3_MCK_Pin I2S3_SCK_Pin I2S3_SD_Pin */
  GPIO_InitStruct.Pin = I2S3_MCK_Pin|I2S3_SCK_Pin|I2S3_SD_Pin;
  GPIO_InitStruct.Mode = GPIO_MODE_AF_PP;
  GPIO_InitStruct.Pull = GPIO_NOPULL;
  GPIO_InitStruct.Speed = GPIO_SPEED_FREQ_LOW;
  GPIO_InitStruct.Alternate = GPIO_AF6_SPI3;
  HAL_GPIO_Init(GPIOC, &GPIO_InitStruct);

  /*Configure GPIO pin : VBUS_FS_Pin */
  GPIO_InitStruct.Pin = VBUS_FS_Pin;
  GPIO_InitStruct.Mode = GPIO_MODE_INPUT;
  GPIO_InitStruct.Pull = GPIO_NOPULL;
  HAL_GPIO_Init(VBUS_FS_GPIO_Port, &GPIO_InitStruct);

  /*Configure GPIO pins : OTG_FS_ID_Pin OTG_FS_DM_Pin OTG_FS_DP_Pin */
  GPIO_InitStruct.Pin = OTG_FS_ID_Pin|OTG_FS_DM_Pin|OTG_FS_DP_Pin;
  GPIO_InitStruct.Mode = GPIO_MODE_AF_PP;
  GPIO_InitStruct.Pull = GPIO_NOPULL;
  GPIO_InitStruct.Speed = GPIO_SPEED_FREQ_LOW;
  GPIO_InitStruct.Alternate = GPIO_AF10_OTG_FS;
  HAL_GPIO_Init(GPIOA, &GPIO_InitStruct);

  /*Configure GPIO pin : OTG_FS_OverCurrent_Pin */
  GPIO_InitStruct.Pin = OTG_FS_OverCurrent_Pin;
  GPIO_InitStruct.Mode = GPIO_MODE_INPUT;
  GPIO_InitStruct.Pull = GPIO_NOPULL;
  HAL_GPIO_Init(OTG_FS_OverCurrent_GPIO_Port, &GPIO_InitStruct);

  /*Configure GPIO pin : MEMS_INT2_Pin */
  GPIO_InitStruct.Pin = MEMS_INT2_Pin;
  GPIO_InitStruct.Mode = GPIO_MODE_EVT_RISING;
  GPIO_InitStruct.Pull = GPIO_NOPULL;
  HAL_GPIO_Init(MEMS_INT2_GPIO_Port, &GPIO_InitStruct);

}

void Error_Handler(void)
{
  __disable_irq();
  while (1)
  {
  }
}
